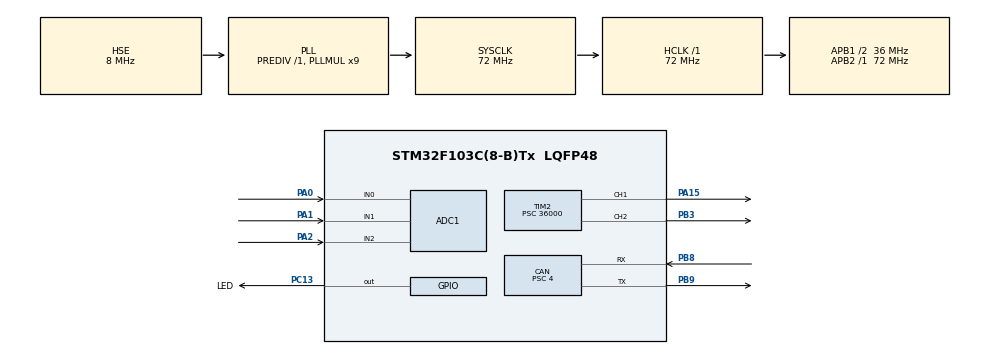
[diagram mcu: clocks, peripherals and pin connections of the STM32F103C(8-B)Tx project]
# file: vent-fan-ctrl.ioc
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ADC1.Channel-0\#ChannelRegularConversion=ADC_CHANNEL_0
ADC1.Channel-1\#ChannelRegularConversion=ADC_CHANNEL_1
ADC1.Channel-2\#ChannelRegularConversion=ADC_CHANNEL_2
ADC1.Channel-3\#ChannelRegularConversion=ADC_CHANNEL_TEMPSENSOR
ADC1.Channel-5\#ChannelRegularConversion=ADC_CHANNEL_VREFINT
ADC1.ContinuousConvMode=ENABLE
ADC1.EnableAnalogWatchDog=false
ADC1.NbrOfConversion=5
ADC1.NbrOfConversionFlag=1
ADC1.Rank-0\#ChannelRegularConversion=1
ADC1.Rank-1\#ChannelRegularConversion=2
ADC1.Rank-2\#ChannelRegularConversion=3
ADC1.Rank-3\#ChannelRegularConversion=4
ADC1.Rank-5\#ChannelRegularConversion=5
ADC1.SamplingTime-0\#ChannelRegularConversion=ADC_SAMPLETIME_28CYCLES_5
ADC1.SamplingTime-1\#ChannelRegularConversion=ADC_SAMPLETIME_28CYCLES_5
ADC1.SamplingTime-2\#ChannelRegularConversion=ADC_SAMPLETIME_28CYCLES_5
ADC1.SamplingTime-3\#ChannelRegularConversion=ADC_SAMPLETIME_239CYCLES_5
ADC1.SamplingTime-5\#ChannelRegularConversion=ADC_SAMPLETIME_239CYCLES_5
ADC1.master=1
CAN.BS1=CAN_BS1_15TQ
CAN.BS2=CAN_BS2_2TQ
CAN.CalculateBaudRate=500000
CAN.CalculateTimeBit=2000
CAN.CalculateTimeQuantum=111.11111111111111
CAN.Prescaler=4
Dma.ADC1.0.Direction=DMA_PERIPH_TO_MEMORY
Dma.ADC1.0.Instance=DMA1_Channel1
Dma.ADC1.0.MemDataAlignment=DMA_MDATAALIGN_HALFWORD
Dma.ADC1.0.MemInc=DMA_MINC_ENABLE
Dma.ADC1.0.Mode=DMA_CIRCULAR
Dma.ADC1.0.PeriphDataAlignment=DMA_PDATAALIGN_HALFWORD
Dma.ADC1.0.PeriphInc=DMA_PINC_DISABLE
Dma.ADC1.0.Priority=DMA_PRIORITY_HIGH
Dma.Request0=ADC1
IWDG.Prescaler=IWDG_PRESCALER_32
Mcu.Family=STM32F1
Mcu.Name=STM32F103C(8-B)Tx
Mcu.Package=LQFP48
NVIC.DMA1_Channel1_IRQn=true\:0\:0\:false\:false\:true\:false\:true\:true
NVIC.PriorityGroup=NVIC_PRIORITYGROUP_4
NVIC.USB_LP_CAN1_RX0_IRQn=true\:0\:0\:false\:false\:true\:true\:true\:true
PA0-WKUP.Signal=ADCx_IN0
PA1.Signal=ADCx_IN1
PA13.Mode=Serial_Wire
PA13.Signal=SYS_JTMS-SWDIO
PA14.Mode=Serial_Wire
PA14.Signal=SYS_JTCK-SWCLK
PA15.Signal=S_TIM2_CH1_ETR
PA2.Signal=ADCx_IN2
PB3.Signal=S_TIM2_CH2
PB8.Mode=CAN_Activate
PB8.Signal=CAN_RX
PB9.Mode=CAN_Activate
PB9.Signal=CAN_TX
PC13-TAMPER-RTC.GPIO_Label=LED
PC13-TAMPER-RTC.Signal=GPIO_Output
PC14-OSC32_IN.Mode=LSE-External-Oscillator
PC14-OSC32_IN.Signal=RCC_OSC32_IN
PC15-OSC32_OUT.Mode=LSE-External-Oscillator
PC15-OSC32_OUT.Signal=RCC_OSC32_OUT
PD0-OSC_IN.Mode=HSE-External-Oscillator
PD0-OSC_IN.Signal=RCC_OSC_IN
PD1-OSC_OUT.Mode=HSE-External-Oscillator
PD1-OSC_OUT.Signal=RCC_OSC_OUT
ProjectManager.HeapSize=0x200
ProjectManager.StackSize=0x400
ProjectManager.TargetToolchain=STM32CubeIDE
RCC.ADCPresc=RCC_ADCPCLK2_DIV6
RCC.AHBFreq_Value=72000000
RCC.APB1CLKDivider=RCC_HCLK_DIV2
RCC.APB1Freq_Value=36000000
RCC.APB1TimFreq_Value=72000000
RCC.APB2Freq_Value=72000000
RCC.APB2TimFreq_Value=72000000
RCC.HCLKFreq_Value=72000000
RCC.PLLMUL=RCC_PLL_MUL9
RCC.PLLSourceVirtual=RCC_PLLSOURCE_HSE
RCC.SYSCLKFreq_VALUE=72000000
RCC.SYSCLKSource=RCC_SYSCLKSOURCE_PLLCLK
RCC.USBFreq_Value=72000000
SH.ADCx_IN0.0=ADC1_IN0,IN0
SH.ADCx_IN1.0=ADC1_IN1,IN1
SH.ADCx_IN2.0=ADC1_IN2,IN2
SH.S_TIM2_CH1_ETR.0=TIM2_CH1,PWM Generation1 CH1
SH.S_TIM2_CH2.0=TIM2_CH2,PWM Generation2 CH2
TIM2.Channel-PWM\ Generation1\ CH1=TIM_CHANNEL_1
TIM2.Channel-PWM\ Generation2\ CH2=TIM_CHANNEL_2
TIM2.ClockDivision=TIM_CLOCKDIVISION_DIV1
TIM2.Period=1000
TIM2.Prescaler=36000
TIM2.Pulse-PWM\ Generation1\ CH1=500
TIM2.Pulse-PWM\ Generation2\ CH2=500
VP_ADC1_TempSens_Input.Mode=IN-TempSens
VP_ADC1_Vref_Input.Mode=IN-Vrefint
VP_CRC_VS_CRC.Mode=CRC_Activate
VP_IWDG_VS_IWDG.Mode=IWDG_Activate
VP_TIM2_VS_ClockSourceINT.Mode=Internal
board=custom

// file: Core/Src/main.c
/* USER CODE BEGIN Header */
/**
  ******************************************************************************
  * @file           : main.c
  * @brief          : Main program body
  ******************************************************************************
  * @attention
  *
  * Copyright (c) 2026 STMicroelectronics.
  * All rights reserved.
  *
  * This software is licensed under terms that can be found in the LICENSE file
  * in the root directory of this software component.
  * If no LICENSE file comes with this software, it is provided AS-IS.
  *
  ******************************************************************************
  */
/* USER CODE END Header */
#include "main.h"
#include "adc.h"
#include "can.h"
#include "crc.h"
#include "dma.h"
#include "iwdg.h"
#include "tim.h"
#include "gpio.h"

/* USER CODE BEGIN Includes */
#include <meta.h>
/* USER CODE END Includes */

/* USER CODE BEGIN PM */
#define CONV(x, y)    ((uint32_t)(((float)x * y) + 0.5f))
/* USER CODE END PM */

/* USER CODE BEGIN PV */
const meta_data_t __attribute__((section(".boot_vers_sec"))) bootloader_version;
const meta_data_t __attribute__((section(".app_vers_sec"))) application_version =
{
    .version = VERSION_FULL_STRING,
    .build_date = BUILD_DATE,
    //.target_cpu = CPU,
    .crc = UINT32_MAX
};

               __attribute__((section(".calib_ram_sec")))   param_t param;
volatile const __attribute__((section(".calib_flash_sec"))) param_t param_flash;
const param_t param_def =
{
    .common.crc = 0,
    .common.size = sizeof(common_param_t),
    .common.xcp_canid_rx = XCP_BASE_ID,
    .common.xcp_canid_tx = XCP_BASE_ID + 1,
    .common.uds_canid_rx = 0,
    .common.uds_canid_func = 0,
    .common.uds_canid_tx = 0,
    .common.ip_mac = {},
    .common.ip_v4 = {},
    .common.ip_port_xcp = 0,
    .common.id = 0,

    .crc = 0,
    .size = sizeof(param_t) - sizeof(common_param_t)
};

uint32_t xcp_base_id = XCP_BASE_ID;
uint16_t config_number = 0;
extern uint32_t xcp_can_is_active;

extern uint32_t _start_calib_ram[];
extern uint32_t _end_calib_ram[];
extern t_xcp_download_cb update_values;

volatile t_can_node_fans_bus0_input can_in;
volatile t_can_node_fans_bus0_output can_out;

var_t __attribute__((section(".var_ram_sec"))) v;
/* USER CODE END PV */

void SystemClock_Config(void);
/* USER CODE BEGIN PFP */
void try_read_xcp_id(void);
void load_param(void);
void update_param_crc(uint32_t address);

void deinit_perif(void) {};

/* USER CODE END PFP */

/* USER CODE BEGIN 0 */
void can_node_fan_status_cb(uint32_t id, uint64_t msg, uint32_t dlc)
{
    can_out.FAN_STATUS.FAN_1_ACT = v.FAN_1_ACT;
    can_out.FAN_STATUS.FAN_2_ACT = v.FAN_2_ACT;
    can_out.FAN_STATUS.FAN_3_ACT = v.FAN_3_ACT;
    can_out.FAN_STATUS.FAN_4_ACT = v.FAN_4_ACT;
}

void can_node_ctrl_to_fan_cb(uint32_t id, uint64_t msg, uint32_t dlc)
{
    float mux = (float)htim2.Init.Period / 100.0f;

    v.FAN_1_ACT = CLIPH(can_in.CTRL_TO_FAN.FAN_1_REQ, 100);
    v.FAN_2_ACT = CLIPH(can_in.CTRL_TO_FAN.FAN_2_REQ, 100);
    v.FAN_3_ACT = CLIPH(can_in.CTRL_TO_FAN.FAN_3_REQ, 100);
    v.FAN_4_ACT = CLIPH(can_in.CTRL_TO_FAN.FAN_4_REQ, 100);

    htim2.Instance->CCR1 = CONV(v.FAN_1_ACT, mux);
    htim2.Instance->CCR2 = CONV(v.FAN_2_ACT, mux);
    htim2.Instance->CCR3 = CONV(v.FAN_3_ACT, mux);
    htim2.Instance->CCR4 = CONV(v.FAN_4_ACT, mux);
}

void HAL_CAN_RxFifo0MsgPendingCallback(CAN_HandleTypeDef *hcan)
{
    CAN_RxHeaderTypeDef rx_header;
    uint8_t data[8];

    if(HAL_CAN_GetRxMessage(hcan, CAN_RX_FIFO0, &rx_header, data) != HAL_OK) return;

    platform_can_msg_recieve(0, &rx_header, data);

}

void HAL_CAN_RxFifo0FullCallback(CAN_HandleTypeDef *hcan)
{
    HAL_CAN_RxFifo0MsgPendingCallback(hcan);
}

void HAL_CAN_ErrorCallback(CAN_HandleTypeDef *hcan)
{
    return;
}

/* USER CODE END 0 */

int main(void)
{

  /* USER CODE BEGIN 1 */
  memset(&v, 0 , sizeof(v));
  memset(&_start_calib_ram, 0xFF , SECTOR_SIZE);
  /* USER CODE END 1 */

  /* MCU Configuration--------------------------------------------------------*/

  /* Reset of all peripherals, Initializes the Flash interface and the Systick. */
  HAL_Init();

  /* Configure the system clock */
  SystemClock_Config();

  /* Initialize all configured peripherals */
  MX_GPIO_Init();
  MX_DMA_Init();
  MX_CAN_Init();
  MX_ADC1_Init();
  MX_TIM2_Init();
  MX_CRC_Init();
  MX_IWDG_Init();
  /* USER CODE BEGIN 2 */

  platform_can_init();

  load_param();
  try_read_xcp_id();

  xcp_can_init(0, 0, xcp_base_id);

  update_values = update_param_crc;

  can_node_fans_bus0_init(xcp_used_mbxs(), 0, 0, &can_out, &can_in);
  HAL_TIM_PWM_Start(&htim2, TIM_CHANNEL_1);
  ADC_Start();

  __enable_irq();
  /* USER CODE END 2 */

  /* Infinite loop */
  /* USER CODE BEGIN WHILE */
  while (1)
  {
      xcp_can_poll();
      can_node_fans_bus0_rx(&can_in);

      if(can_in.alive.ctrl_to_fan == 0)
      {
          float mux = (float)htim2.Init.Period / 100.0f;
          v.FAN_1_ACT = v.ADC[0] * 104 / 4096;
//          htim2.Instance->CCR1 = CONV(v.FAN_1_ACT, mux);
//          htim2.Instance->CCR2 = 50;
//          htim2.Instance->CCR3 = 50;
      }

      v.VCC = Calculate_VDD(v.ADC[ADC_VCC]);
      v.CPU_temp = Calculate_Temperature(v.ADC[ADC_TEMP], v.VCC);
      can_node_fans_bus0_tx(&can_out);
    /* USER CODE END WHILE */

    /* USER CODE BEGIN 3 */
      uint32_t tick = HAL_GetTick() % 500;
      if(tick < 100)
      {
          HAL_GPIO_WritePin(LED_GPIO_Port, LED_Pin, GPIO_PIN_RESET);
          HAL_GPIO_WritePin(GPIOB, GPIO_PIN_10, GPIO_PIN_RESET);
      }
      else if(xcp_can_is_active && tick >= 200 && tick < 300)
      {
          HAL_GPIO_WritePin(LED_GPIO_Port, LED_Pin, GPIO_PIN_RESET);
          HAL_GPIO_WritePin(GPIOB, GPIO_PIN_10, GPIO_PIN_RESET);
      }
      else
      {
          HAL_GPIO_WritePin(LED_GPIO_Port, LED_Pin, GPIO_PIN_SET);
          HAL_GPIO_WritePin(GPIOB, GPIO_PIN_10, GPIO_PIN_SET);
      }

      v.cntr++;
      if(v.update_boot == 1)
      {
          set_flash_bootloader();
          v.update_boot = 2;
      }

      HAL_IWDG_Refresh(&hiwdg);
  }
  /* USER CODE END 3 */
}

void SystemClock_Config(void)
{
  RCC_OscInitTypeDef RCC_OscInitStruct = {0};
  RCC_ClkInitTypeDef RCC_ClkInitStruct = {0};
  RCC_PeriphCLKInitTypeDef PeriphClkInit = {0};

  /** Initializes the RCC Oscillators according to the specified parameters
  * in the RCC_OscInitTypeDef structure.
  */
  RCC_OscInitStruct.OscillatorType = RCC_OSCILLATORTYPE_LSI|RCC_OSCILLATORTYPE_HSE;
  RCC_OscInitStruct.HSEState = RCC_HSE_ON;
  RCC_OscInitStruct.HSEPredivValue = RCC_HSE_PREDIV_DIV1;
  RCC_OscInitStruct.HSIState = RCC_HSI_ON;
  RCC_OscInitStruct.LSIState = RCC_LSI_ON;
  RCC_OscInitStruct.PLL.PLLState = RCC_PLL_ON;
  RCC_OscInitStruct.PLL.PLLSource = RCC_PLLSOURCE_HSE;
  RCC_OscInitStruct.PLL.PLLMUL = RCC_PLL_MUL9;
  if (HAL_RCC_OscConfig(&RCC_OscInitStruct) != HAL_OK)
  {
    Error_Handler();
  }

  /** Initializes the CPU, AHB and APB buses clocks
  */
  RCC_ClkInitStruct.ClockType = RCC_CLOCKTYPE_HCLK|RCC_CLOCKTYPE_SYSCLK
                              |RCC_CLOCKTYPE_PCLK1|RCC_CLOCKTYPE_PCLK2;
  RCC_ClkInitStruct.SYSCLKSource = RCC_SYSCLKSOURCE_PLLCLK;
  RCC_ClkInitStruct.AHBCLKDivider = RCC_SYSCLK_DIV1;
  RCC_ClkInitStruct.APB1CLKDivider = RCC_HCLK_DIV2;
  RCC_ClkInitStruct.APB2CLKDivider = RCC_HCLK_DIV1;

  if (HAL_RCC_ClockConfig(&RCC_ClkInitStruct, FLASH_LATENCY_2) != HAL_OK)
  {
    Error_Handler();
  }
  PeriphClkInit.PeriphClockSelection = RCC_PERIPHCLK_ADC;
  PeriphClkInit.AdcClockSelection = RCC_ADCPCLK2_DIV6;
  if (HAL_RCCEx_PeriphCLKConfig(&PeriphClkInit) != HAL_OK)
  {
    Error_Handler();
  }
}

/* USER CODE BEGIN 4 */
void try_read_xcp_id(void)
{
    if(param.common.xcp_canid_tx == param.common.xcp_canid_rx + 1 && param.common.xcp_canid_rx != 0xFFFFFFFF)
    {
        xcp_base_id = param.common.xcp_canid_rx;
    }
    else
    {
        xcp_base_id += config_number * 2;
    }
}

void load_param(void)
{
    static_assert(sizeof(common_param_t) == COMMON_PARAM_SIZE, "Size of common param must be 64");
    uint32_t crc = 0;

    // Load defaul params
    memcpy(&param, &param_def, sizeof(param_t));

    //Check saved common.params and load
    if(param_flash.common.size <= (SECTORS_FOR_PARAM * SECTOR_SIZE) && (param_flash.common.size != 0) && (param_flash.common.size % 4 == 0))
    {
        crc = HAL_CRC_Calculate(&hcrc, (uint32_t*)&param_flash.common.size, param_flash.common.size / 4 - 1);
        if(param_flash.common.crc == crc)
        {
            if(param_flash.size <= (SECTORS_FOR_PARAM * SECTOR_SIZE) && (param_flash.size != 0) && (param_flash.size % 4 == 0))
            {
                crc = HAL_CRC_Calculate(&hcrc, (uint32_t*)&param_flash.size, param_flash.size / 4 - 1);
                if(param_flash.crc == crc)
                {
                    memcpy(&param, (const void *)&param_flash, param_flash.common.size + param_flash.size);
                }
            }
        }
    }

    //Recalculate CRC
    param.common.crc = HAL_CRC_Calculate(&hcrc, (uint32_t*)&param.common.size, param.common.size / 4 - 1);
    param.crc = HAL_CRC_Calculate(&hcrc, (uint32_t*)&param.size, param.size / 4 - 1);
}

void update_param_crc(uint32_t address)
{
    if(address >= (uint32_t)&param.common && address < (uint32_t)&param.common + sizeof(common_param_t))
    {
        param.common.crc = HAL_CRC_Calculate(&hcrc, (uint32_t*)&param.common.size, param.common.size / 4 - 1);
    }

    if(address >= (uint32_t)&param.crc && address < (uint32_t)&param + sizeof(param_t))
    {
        param.crc = HAL_CRC_Calculate(&hcrc, (uint32_t*)&param.size, param.size / 4 - 1);
    }
}
/* USER CODE END 4 */

void Error_Handler(void)
{
  __disable_irq();
  while (1)
  {
  }
}
